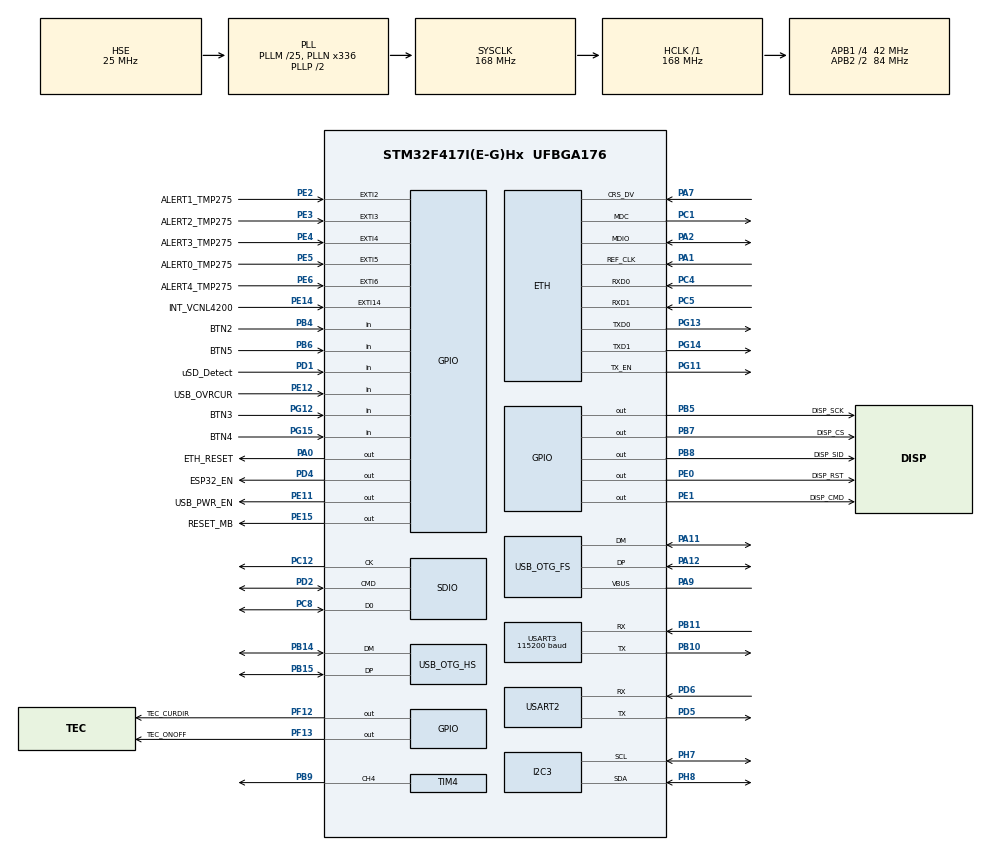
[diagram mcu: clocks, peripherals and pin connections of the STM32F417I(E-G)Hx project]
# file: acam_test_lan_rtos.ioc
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Dma.Request0=SDIO_RX
Dma.Request1=SDIO_TX
Dma.SDIO_RX.0.Direction=DMA_PERIPH_TO_MEMORY
Dma.SDIO_RX.0.FIFOMode=DMA_FIFOMODE_ENABLE
Dma.SDIO_RX.0.FIFOThreshold=DMA_FIFO_THRESHOLD_FULL
Dma.SDIO_RX.0.Instance=DMA2_Stream3
Dma.SDIO_RX.0.MemBurst=DMA_MBURST_INC4
Dma.SDIO_RX.0.MemDataAlignment=DMA_MDATAALIGN_WORD
Dma.SDIO_RX.0.MemInc=DMA_MINC_ENABLE
Dma.SDIO_RX.0.Mode=DMA_PFCTRL
Dma.SDIO_RX.0.PeriphBurst=DMA_PBURST_INC4
Dma.SDIO_RX.0.PeriphDataAlignment=DMA_PDATAALIGN_WORD
Dma.SDIO_RX.0.PeriphInc=DMA_PINC_DISABLE
Dma.SDIO_RX.0.Priority=DMA_PRIORITY_LOW
Dma.SDIO_TX.1.Direction=DMA_MEMORY_TO_PERIPH
Dma.SDIO_TX.1.FIFOMode=DMA_FIFOMODE_ENABLE
Dma.SDIO_TX.1.FIFOThreshold=DMA_FIFO_THRESHOLD_FULL
Dma.SDIO_TX.1.Instance=DMA2_Stream6
Dma.SDIO_TX.1.MemBurst=DMA_MBURST_INC4
Dma.SDIO_TX.1.MemDataAlignment=DMA_MDATAALIGN_WORD
Dma.SDIO_TX.1.MemInc=DMA_MINC_ENABLE
Dma.SDIO_TX.1.Mode=DMA_PFCTRL
Dma.SDIO_TX.1.PeriphBurst=DMA_PBURST_INC4
Dma.SDIO_TX.1.PeriphDataAlignment=DMA_PDATAALIGN_WORD
Dma.SDIO_TX.1.PeriphInc=DMA_PINC_DISABLE
Dma.SDIO_TX.1.Priority=DMA_PRIORITY_LOW
ETH.MediaInterface=ETH_MEDIA_INTERFACE_RMII
ETH.PHY_Name_RMII=DP83848_PHY_ADDRESS
FATFS.BSP.number=1
FATFS.USE_DMA_CODE_SD=1
FATFS._FS_LOCK=3
FATFS._FS_RPATH=0
FATFS._MAX_SS=4096
FATFS._USE_LFN=2
FATFS0.BSP.STBoard=false
FATFS0.BSP.api=Unknown
FATFS0.BSP.i2caddr=0
FATFS0.BSP.instance=PD1
FATFS0.BSP.ip=GPIO
FATFS0.BSP.mode=Input
FATFS0.BSP.name=Detect_SDIO
FATFS0.BSP.solution=PD1
FREERTOS.Queues01=backlight_value,100,uint8_t,0,Dynamic,NULL,NULL
FREERTOS.Tasks01=defaultTask,0,256,StartDefaultTask,Default,NULL,Dynamic,NULL,NULL;backlight,-2,128,backlightTask,Default,NULL,Dynamic,NULL,NULL
FREERTOS.configUSE_NEWLIB_REENTRANT=1
LWIP.CMSIS_VERSION-Enabled=1
LWIP.GATEWAY_ADDRESS=192.168.001.001
LWIP.IP_ADDRESS=192.168.001.099
LWIP.LWIP_DHCP=0
LWIP.LWIP_HTTPD=1
LWIP.LWIP_HTTPD_CUSTOM_FILES=0
LWIP.NETMASK_ADDRESS=255.255.255.000
LWIP.Version=v2.1.2_Cube
Mcu.Family=STM32F4
Mcu.Name=STM32F417I(E-G)Hx
Mcu.Package=UFBGA176
NVIC.DMA2_Stream3_IRQn=true\:5\:0\:false\:false\:true\:true\:false\:true
NVIC.DMA2_Stream6_IRQn=true\:5\:0\:false\:false\:true\:true\:false\:true
NVIC.ETH_IRQn=true\:5\:0\:false\:false\:true\:true\:true\:true
NVIC.OTG_FS_IRQn=true\:5\:0\:false\:false\:true\:true\:false\:true
NVIC.OTG_HS_IRQn=true\:5\:0\:false\:false\:true\:true\:false\:true
NVIC.PriorityGroup=NVIC_PRIORITYGROUP_4
NVIC.RTC_WKUP_IRQn=true\:5\:0\:false\:false\:true\:true\:true\:true
NVIC.SDIO_IRQn=true\:5\:0\:false\:false\:true\:true\:true\:true
NVIC.TIM1_UP_TIM10_IRQn=true\:15\:0\:false\:false\:true\:false\:false\:true
NVIC.TimeBase=TIM1_UP_TIM10_IRQn
NVIC.TimeBaseIP=TIM1
NVIC.USART2_IRQn=true\:5\:0\:false\:false\:true\:true\:true\:true
PA0-WKUP.GPIO_Label=ETH_RESET
PA0-WKUP.Signal=GPIO_Output
PA1.Mode=RMII
PA1.Signal=ETH_REF_CLK
PA11.Mode=Device_Only
PA11.Signal=USB_OTG_FS_DM
PA12.Mode=Device_Only
PA12.Signal=USB_OTG_FS_DP
PA13.Mode=Trace_Asynchronous_SW
PA13.Signal=SYS_JTMS-SWDIO
PA14.Mode=Trace_Asynchronous_SW
PA14.Signal=SYS_JTCK-SWCLK
PA2.Mode=RMII
PA2.Signal=ETH_MDIO
PA7.Mode=RMII
PA7.Signal=ETH_CRS_DV
PA9.Mode=Activate_VBUS
PA9.Signal=USB_OTG_FS_VBUS
PB10.Mode=Asynchronous
PB10.Signal=USART3_TX
PB11.Mode=Asynchronous
PB11.Signal=USART3_RX
PB14.Mode=Host_FS
PB14.Signal=USB_OTG_HS_DM
PB15.Mode=Host_FS
PB15.Signal=USB_OTG_HS_DP
PB3.Mode=Trace_Asynchronous_SW
PB3.Signal=SYS_JTDO-SWO
PB4.GPIO_Label=BTN2
PB4.Signal=GPIO_Input
PB5.GPIO_Label=DISP_SCK
PB5.Signal=GPIO_Output
PB6.GPIO_Label=BTN5
PB6.Signal=GPIO_Input
PB7.GPIO_Label=DISP_CS
PB7.Signal=GPIO_Output
PB8.GPIO_Label=DISP_SID
PB8.Signal=GPIO_Output
PB9.Signal=S_TIM4_CH4
PC1.Mode=RMII
PC1.Signal=ETH_MDC
PC12.Mode=SD_1_bit
PC12.Signal=SDIO_CK
PC14-OSC32_IN.Mode=LSE-External-Oscillator
PC14-OSC32_IN.Signal=RCC_OSC32_IN
PC15-OSC32_OUT.Mode=LSE-External-Oscillator
PC15-OSC32_OUT.Signal=RCC_OSC32_OUT
PC4.Mode=RMII
PC4.Signal=ETH_RXD0
PC5.Mode=RMII
PC5.Signal=ETH_RXD1
PC8.Mode=SD_1_bit
PC8.Signal=SDIO_D0
PD1.GPIO_Label=uSD_Detect
PD1.Signal=GPIO_Input
PD2.Mode=SD_1_bit
PD2.Signal=SDIO_CMD
PD4.GPIO_Label=ESP32_EN
PD4.Signal=GPIO_Output
PD5.Mode=Asynchronous
PD5.Signal=USART2_TX
PD6.Mode=Asynchronous
PD6.Signal=USART2_RX
PE0.GPIO_Label=DISP_RST
PE0.Signal=GPIO_Output
PE1.GPIO_Label=DISP_CMD
PE1.Signal=GPIO_Output
PE11.GPIO_Label=USB_PWR_EN
PE11.Signal=GPIO_Output
PE12.GPIO_Label=USB_OVRCUR
PE12.Signal=GPIO_Input
PE14.GPIO_Label=INT_VCNL4200
PE14.Signal=GPXTI14
PE15.GPIO_Label=RESET_MB
PE15.Signal=GPIO_Output
PE2.GPIO_Label=ALERT1_TMP275
PE2.Signal=GPXTI2
PE3.GPIO_Label=ALERT2_TMP275
PE3.Signal=GPXTI3
PE4.GPIO_Label=ALERT3_TMP275
PE4.Signal=GPXTI4
PE5.GPIO_Label=ALERT0_TMP275
PE5.Signal=GPXTI5
PE6.GPIO_Label=ALERT4_TMP275
PE6.Signal=GPXTI6
PF12.GPIO_Label=TEC_CURDIR
PF12.Signal=GPIO_Output
PF13.GPIO_Label=TEC_ONOFF
PF13.Signal=GPIO_Output
PG11.Mode=RMII
PG11.Signal=ETH_TX_EN
PG12.GPIO_Label=BTN3
PG12.Signal=GPIO_Input
PG13.Mode=RMII
PG13.Signal=ETH_TXD0
PG14.Mode=RMII
PG14.Signal=ETH_TXD1
PG15.GPIO_Label=BTN4
PG15.Signal=GPIO_Input
PH0-OSC_IN.Mode=HSE-External-Oscillator
PH0-OSC_IN.Signal=RCC_OSC_IN
PH1-OSC_OUT.Mode=HSE-External-Oscillator
PH1-OSC_OUT.Signal=RCC_OSC_OUT
PH7.GPIO_Pu=GPIO_PULLUP
PH7.Mode=I2C
PH7.Signal=I2C3_SCL
PH8.GPIO_Pu=GPIO_PULLUP
PH8.Mode=I2C
PH8.Signal=I2C3_SDA
ProjectManager.HeapSize=0x800
ProjectManager.StackSize=0x1000
ProjectManager.TargetToolchain=STM32CubeIDE
RCC.48MHZClocksFreq_Value=48000000
RCC.AHBFreq_Value=168000000
RCC.APB1CLKDivider=RCC_HCLK_DIV4
RCC.APB1Freq_Value=42000000
RCC.APB1TimFreq_Value=84000000
RCC.APB2CLKDivider=RCC_HCLK_DIV2
RCC.APB2Freq_Value=84000000
RCC.APB2TimFreq_Value=168000000
RCC.CortexFreq_Value=168000000
RCC.HCLKFreq_Value=168000000
RCC.HSE_VALUE=25000000
RCC.HSI_VALUE=16000000
RCC.PLLM=25
RCC.PLLN=336
RCC.PLLQ=7
RCC.RCC_MCO1Source=RCC_MCO1SOURCE_PLLCLK
RCC.RCC_MCODiv1=RCC_MCODIV_3
RCC.RCC_RTC_Clock_Source=RCC_RTCCLKSOURCE_LSE
RCC.RCC_RTC_Clock_SourceVirtual=RCC_RTCCLKSOURCE_LSE
RCC.SYSCLKFreq_VALUE=168000000
RCC.SYSCLKSource=RCC_SYSCLKSOURCE_PLLCLK
RCC.VCOOutputFreq_Value=336000000
RTC.Date=2
RTC.Format=RTC_FORMAT_BIN
RTC.Month=RTC_MONTH_AUGUST
RTC.WakeUpClock=RTC_WAKEUPCLOCK_CK_SPRE_16BITS
RTC.WeekDay=RTC_WEEKDAY_SUNDAY
RTC.Year=20
SDIO.ClockDiv=3
SH.S_TIM4_CH4.0=TIM4_CH4,PWM Generation4 CH4
TIM4.Channel-PWM\ Generation4\ CH4=TIM_CHANNEL_4
TIM4.Period=500-1
TIM4.Prescaler=42-1
TIM4.Pulse-PWM\ Generation4\ CH4=250-1
USART2.VirtualMode=VM_ASYNC
USART3.BaudRate=115200
USART3.VirtualMode=VM_ASYNC
USB_DEVICE.CLASS_NAME_FS=CDC
USB_DEVICE.VirtualMode-CDC_FS=Cdc
USB_DEVICE.VirtualModeFS=Cdc_FS
USB_HOST.BSP.number=1
USB_HOST.USBH_DEBUG_LEVEL-MSC_HS=2
USB_HOST.USBH_HandleTypeDef-MSC_HS=hUsbHostHS
USB_HOST.VirtualModeHS=Msc
USB_HOST0.BSP.STBoard=false
USB_HOST0.BSP.api=Unknown
USB_HOST0.BSP.i2caddr=0
USB_HOST0.BSP.instance=PE11
USB_HOST0.BSP.ip=GPIO
USB_HOST0.BSP.mode=Output
USB_HOST0.BSP.name=Drive_VBUS_HS
USB_HOST0.BSP.solution=PE11
USB_OTG_FS.VirtualMode=Device_Only
USB_OTG_HS.VirtualMode-Host_FS=Host_FS
USB_OTG_HS.dma_enable-Host_FS=ENABLE
VP_FATFS_VS_SDIO.Mode=SDIO
VP_FATFS_VS_USB.Mode=USB
VP_FREERTOS_VS_CMSIS_V1.Mode=CMSIS_V1
VP_LWIP_VS_Enabled.Mode=Enabled
VP_RTC_VS_RTC_Activate.Mode=RTC_Enabled
VP_RTC_VS_RTC_Calendar.Mode=RTC_Calendar
VP_RTC_VS_RTC_WakeUp_intern.Mode=WakeUp
VP_SYS_VS_tim1.Mode=TIM1
VP_TIM4_VS_ClockSourceINT.Mode=Internal
VP_USB_DEVICE_VS_USB_DEVICE_CDC_FS.Mode=CDC_FS
VP_USB_HOST_VS_USB_HOST_MSC_HS.Mode=MSC_HS
board=custom

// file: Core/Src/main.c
/* USER CODE BEGIN Header */
/**
  ******************************************************************************
  * @file           : main.c
  * @brief          : Main program body
  ******************************************************************************
  * @attention
  *
  * <h2><center>&copy; Copyright (c) 2021 STMicroelectronics.
  * All rights reserved.</center></h2>
  *
  * This software component is licensed by ST under Ultimate Liberty license
  * SLA0044, the "License"; You may not use this file except in compliance with
  * the License. You may obtain a copy of the License at:
  *                             www.st.com/SLA0044
  *
  ******************************************************************************
  */
/* USER CODE END Header */
#include "main.h"
#include "cmsis_os.h"
#include "dma.h"
#include "fatfs.h"
#include "i2c.h"
#include "lwip.h"
#include "rtc.h"
#include "sdio.h"
#include "tim.h"
#include "usart.h"
#include "usb_device.h"
#include "usb_host.h"
#include "gpio.h"

void SystemClock_Config(void);
void MX_FREERTOS_Init(void);

int main(void)
{

  /* MCU Configuration--------------------------------------------------------*/

  /* Reset of all peripherals, Initializes the Flash interface and the Systick. */
  HAL_Init();

  /* Configure the system clock */
  SystemClock_Config();

  /* Initialize all configured peripherals */
  MX_GPIO_Init();
  MX_DMA_Init();
  MX_I2C3_Init();
  MX_TIM4_Init();
  MX_RTC_Init();
  MX_SDIO_SD_Init();
  MX_FATFS_Init();
  MX_USART2_UART_Init();
  MX_USART3_UART_Init();
  /* USER CODE BEGIN 2 */
  HAL_GPIO_WritePin(ETH_RESET_GPIO_Port, ETH_RESET_Pin, GPIO_PIN_RESET);
  HAL_Delay(10);
  HAL_GPIO_WritePin(ETH_RESET_GPIO_Port, ETH_RESET_Pin, GPIO_PIN_SET);

  /* USER CODE END 2 */

  /* Call init function for freertos objects (in freertos.c) */
  MX_FREERTOS_Init();
  /* Start scheduler */
  osKernelStart();

  /* We should never get here as control is now taken by the scheduler */
  /* Infinite loop */
  while (1)
  {

  }
}

void SystemClock_Config(void)
{
  RCC_OscInitTypeDef RCC_OscInitStruct = {0};
  RCC_ClkInitTypeDef RCC_ClkInitStruct = {0};

  /** Configure the main internal regulator output voltage
  */
  __HAL_RCC_PWR_CLK_ENABLE();
  __HAL_PWR_VOLTAGESCALING_CONFIG(PWR_REGULATOR_VOLTAGE_SCALE1);
  /** Initializes the RCC Oscillators according to the specified parameters
  * in the RCC_OscInitTypeDef structure.
  */
  RCC_OscInitStruct.OscillatorType = RCC_OSCILLATORTYPE_HSE|RCC_OSCILLATORTYPE_LSE;
  RCC_OscInitStruct.HSEState = RCC_HSE_ON;
  RCC_OscInitStruct.LSEState = RCC_LSE_ON;
  RCC_OscInitStruct.PLL.PLLState = RCC_PLL_ON;
  RCC_OscInitStruct.PLL.PLLSource = RCC_PLLSOURCE_HSE;
  RCC_OscInitStruct.PLL.PLLM = 25;
  RCC_OscInitStruct.PLL.PLLN = 336;
  RCC_OscInitStruct.PLL.PLLP = RCC_PLLP_DIV2;
  RCC_OscInitStruct.PLL.PLLQ = 7;
  if (HAL_RCC_OscConfig(&RCC_OscInitStruct) != HAL_OK)
  {
    Error_Handler();
  }
  /** Initializes the CPU, AHB and APB buses clocks
  */
  RCC_ClkInitStruct.ClockType = RCC_CLOCKTYPE_HCLK|RCC_CLOCKTYPE_SYSCLK
                              |RCC_CLOCKTYPE_PCLK1|RCC_CLOCKTYPE_PCLK2;
  RCC_ClkInitStruct.SYSCLKSource = RCC_SYSCLKSOURCE_PLLCLK;
  RCC_ClkInitStruct.AHBCLKDivider = RCC_SYSCLK_DIV1;
  RCC_ClkInitStruct.APB1CLKDivider = RCC_HCLK_DIV4;
  RCC_ClkInitStruct.APB2CLKDivider = RCC_HCLK_DIV2;

  if (HAL_RCC_ClockConfig(&RCC_ClkInitStruct, FLASH_LATENCY_5) != HAL_OK)
  {
    Error_Handler();
  }
}

void HAL_TIM_PeriodElapsedCallback(TIM_HandleTypeDef *htim)
{
  if (htim->Instance == TIM1) {
    HAL_IncTick();
  }
}

void Error_Handler(void)
{
  __disable_irq();
  while (1)
  {
  }
}

/************************ (C) COPYRIGHT STMicroelectronics *****END OF FILE****/

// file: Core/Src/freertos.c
/* USER CODE BEGIN Header */
/**
  ******************************************************************************
  * File Name          : freertos.c
  * Description        : Code for freertos applications
  ******************************************************************************
  * @attention
  *
  * <h2><center>&copy; Copyright (c) 2021 STMicroelectronics.
  * All rights reserved.</center></h2>
  *
  * This software component is licensed by ST under Ultimate Liberty license
  * SLA0044, the "License"; You may not use this file except in compliance with
  * the License. You may obtain a copy of the License at:
  *                             www.st.com/SLA0044
  *
  ******************************************************************************
  */
/* USER CODE END Header */

#include "FreeRTOS.h"
#include "task.h"
#include "main.h"
#include "cmsis_os.h"

/* USER CODE BEGIN Includes */
#include "tim.h"
#include "lwip.h"
#include "api.h"
#include "httpserver-netconn.h"
/* USER CODE END Includes */

/* USER CODE BEGIN Variables */
extern struct netif gnetif;
char buffer[256];
osThreadId  tcpclientHandle;
/* USER CODE END Variables */
osThreadId defaultTaskHandle;
osThreadId backlightHandle;
osMessageQId backlight_valueHandle;

/* USER CODE BEGIN FunctionPrototypes */
void StarttcpclientTask(void const *argument);
/* USER CODE END FunctionPrototypes */

void StartDefaultTask(void const * argument);
void backlightTask(void const * argument);

extern void MX_USB_DEVICE_Init(void);
extern void MX_USB_HOST_Init(void);
extern void MX_LWIP_Init(void);
void MX_FREERTOS_Init(void); /* (MISRA C 2004 rule 8.1) */

/* GetIdleTaskMemory prototype (linked to static allocation support) */
void vApplicationGetIdleTaskMemory( StaticTask_t **ppxIdleTaskTCBBuffer, StackType_t **ppxIdleTaskStackBuffer, uint32_t *pulIdleTaskStackSize );

/* USER CODE BEGIN GET_IDLE_TASK_MEMORY */
static StaticTask_t xIdleTaskTCBBuffer;
static StackType_t xIdleStack[configMINIMAL_STACK_SIZE];

void vApplicationGetIdleTaskMemory( StaticTask_t **ppxIdleTaskTCBBuffer, StackType_t **ppxIdleTaskStackBuffer, uint32_t *pulIdleTaskStackSize )
{
  *ppxIdleTaskTCBBuffer = &xIdleTaskTCBBuffer;
  *ppxIdleTaskStackBuffer = &xIdleStack[0];
  *pulIdleTaskStackSize = configMINIMAL_STACK_SIZE;
  /* place for user code */
}
/* USER CODE END GET_IDLE_TASK_MEMORY */

void MX_FREERTOS_Init(void) {

  /* Create the queue(s) */
  /* definition and creation of backlight_value */
  osMessageQDef(backlight_value, 100, uint8_t);
  backlight_valueHandle = osMessageCreate(osMessageQ(backlight_value), NULL);

  /* Create the thread(s) */
  /* definition and creation of defaultTask */
  osThreadDef(defaultTask, StartDefaultTask, osPriorityNormal, 0, 256);
  defaultTaskHandle = osThreadCreate(osThread(defaultTask), NULL);

  /* definition and creation of backlight */
  osThreadDef(backlight, backlightTask, osPriorityLow, 0, 256);
  backlightHandle = osThreadCreate(osThread(backlight), NULL);

  /* USER CODE BEGIN RTOS_THREADS */
  /* add threads, ... */
//  osThreadDef(tcpclientTask,StarttcpclientTask,osPriorityBelowNormal,0,256);
//    tcpclientHandle = osThreadCreate(osThread(tcpclientTask), NULL);
  osThreadDef(httpTask,http_server_netconn_thread,osPriorityBelowNormal,0,DEFAULT_THREAD_STACKSIZE);
  osThreadCreate(osThread(httpTask), NULL);

  /* USER CODE END RTOS_THREADS */

}

void StartDefaultTask(void const * argument)
{
  /* init code for USB_DEVICE */
  MX_USB_DEVICE_Init();

  /* init code for USB_HOST */
  MX_USB_HOST_Init();

  /* init code for LWIP */
  MX_LWIP_Init();
  /* USER CODE BEGIN StartDefaultTask */
  /* Infinite loop */
//  http_server_netconn_init();
  printf("StartDefaultTask\n\r");
  int16_t desiredbrightness=10;
  int16_t direction=1;

  for(;;)
  {

	  desiredbrightness+=direction;
	  if(desiredbrightness>90) direction=-1;
	  if(desiredbrightness==10) direction=1;
//	  printf("Send:brightness=%d,direction=%d\n",desiredbrightness,direction);
	  osMessagePut(backlight_valueHandle, desiredbrightness, osWaitForever);
//	  osMessageQueuePut(backlight_valueHandle, (void *)&desiredbrightness, 0, 1000);
	  osDelay(10);
//	  osDelay(1);
  }
  /* USER CODE END StartDefaultTask */
}

void backlightTask(void const * argument)
{
  /* USER CODE BEGIN backlightTask */
  /* Infinite loop */
	osEvent event;
	uint16_t backlight_value;
	uint16_t pulse_width;
	printf("backlighttask start\n\r");
  for(;;)
  {
//	  status=osMessageQueueGet(backlight_valueHandle,(uint16_t *) &backlight_value,NULL, 1000);
	  event=osMessageGet(backlight_valueHandle, osWaitForever);
//	  if(status==osOK)
	  if(event.status==osEventMessage)
	  {
//		  printf("RCV:%d\n",backlight_value);
		  backlight_value=(uint16_t)event.value.v;
		  pulse_width=(uint16_t) (__HAL_TIM_GET_AUTORELOAD(&htim4)* backlight_value) / 100;
			__HAL_TIM_SET_COMPARE(&htim4,TIM_CHANNEL_4,pulse_width);
			HAL_TIM_PWM_Start(&htim4, TIM_CHANNEL_4);
	  }
    osDelay(1);
  }
  /* USER CODE END backlightTask */
}

/* USER CODE BEGIN Application */
void StarttcpclientTask(void const *argument)
{

	ip_addr_t local_ip;
	ip_addr_t remote_ip;
	struct netconn *nc;
	struct netbuf *nb;
	err_t res;
	uint16_t len=0;
	printf("tcpclientTask!\r\n");
	while(gnetif.ip_addr.addr==0) osDelay(1);
	local_ip=gnetif.ip_addr;
	printf("Assigned IP:%s\n\r",ip4addr_ntoa(&local_ip));

	ip4addr_aton("192.168.1.11",&remote_ip);
	nc=netconn_new(NETCONN_TCP);
	if(nc==NULL){
		printf("new Connection Error!\r\n");
		while(1) osDelay(1);
	}
	res=netconn_bind(nc,&local_ip,0);
	if(res!=ERR_OK){
		printf("bind Connection Error!\r\n");
		while(1) osDelay(1);
	}
	osDelay(20000);

	while((res=netconn_connect(nc,&remote_ip,17))!=ERR_OK)
	{
		printf("connect to Connection Error,%d!\r\n",res);
		osDelay(2000);
	}
	printf("connect to Connection OK!\r\n");
	len=sprintf(buffer,"Hello World From Nucleo-F7");
	res=netconn_write(nc,buffer,len,NETCONN_NOCOPY );
	if(res!=ERR_OK){
		printf("Write Error!\r\n");
		while(1) osDelay(1);
	}
	res=netconn_recv(nc,&nb);
	if(res!=ERR_OK){
		printf("Recv Error!\r\n");
		while(1) osDelay(1);
	}
	len=netbuf_len(nb);
	if(len>0){
		netbuf_copy(nb,buffer,len);
		printf("Recieved %d Byte:\r\n%s\r\n",len,buffer);
	}
	netconn_close(nc);
	netconn_delete(nc);

	for(;;)
	{
		osDelay(1);
	}
}
/* USER CODE END Application */

/************************ (C) COPYRIGHT STMicroelectronics *****END OF FILE****/
